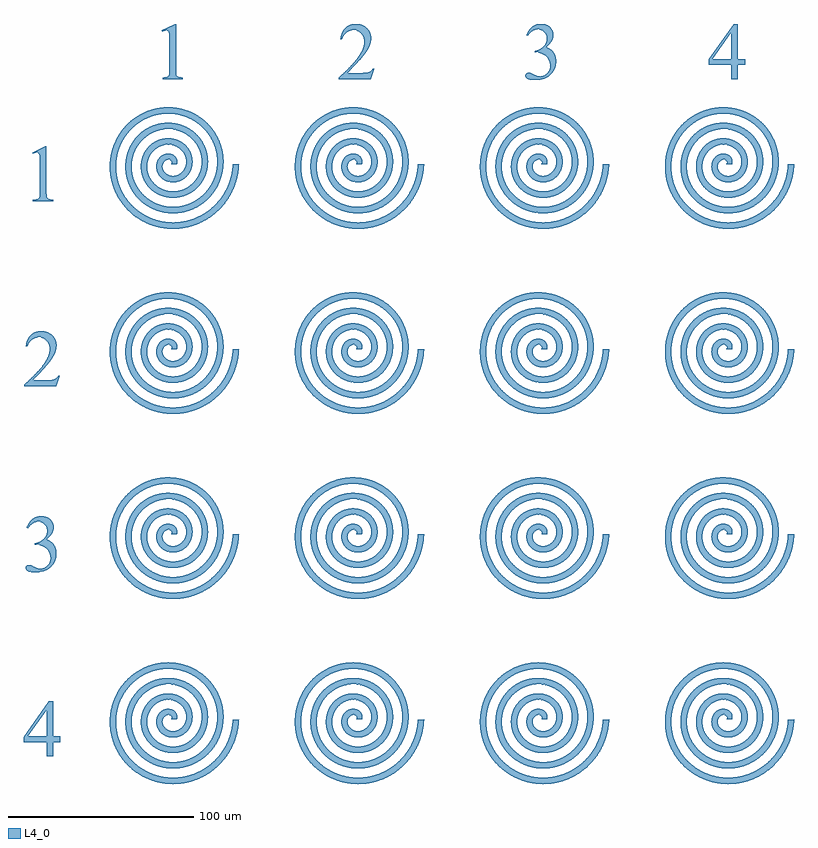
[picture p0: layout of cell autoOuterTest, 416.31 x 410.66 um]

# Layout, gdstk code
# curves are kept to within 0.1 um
import gdstk
lib = gdstk.Library(unit=1e-6, precision=1e-09)
def P(c, l, *ps):  # polygons
    for p in ps: c.add(gdstk.Polygon(p, *l))
L4_0 = (4, 0)

spiral = lib.new_cell('spiral')
P(spiral, L4_0, [(0,0),(0.503,0.218),(0.745,0.767),(3.108,3.217),(3.62,1.585),(3.404,0.009)],
  [(0.745,0.767),(0.55,1.55),(-0.062,2.138),(-0.177,5.54),(0.832,5.223),(1.76,4.703),(2.517,4.033),(3.108,3.217)],
  [(-0.062,2.138),(-1.173,2.433),(-2.366,2.167),(-4.888,4.453),(-3.807,5.093),(-2.605,5.506),(-1.336,5.655),(-0.177,5.54)],
  [(-7.667,-0.469),(-7.343,1.026),(-6.741,2.376),(-5.905,3.53),(-4.888,4.453),(-2.366,2.167),(-3.577,1.192),(-4.271,-0.25)],
  [(-5.702,-6.639),(-6.654,-5.284),(-7.333,-3.736),(-7.672,-2.133),(-7.667,-0.469),(-4.271,-0.25),(-4.396,-1.209),(-4.286,-2.277),(-3.495,-4.047)],
  [(0.886,-9.781),(-0.952,-9.519),(-2.745,-8.885),(-4.4,-7.873),(-5.702,-6.639),(-3.495,-4.047),(-2.753,-4.894),(-1.808,-5.598),(-0.69,-6.111),(0.561,-6.393)],
  [(1.283,-9.79),(0.886,-9.781),(0.561,-6.393),(1.896,-6.41),(3.325,-6.121),(4.582,-5.579),(5.806,-4.726),(8.465,-6.852),(6.945,-8.074),(5.169,-9.02),(3.29,-9.593)],
  [(8.465,-6.852),(5.806,-4.726),(6.914,-3.54),(7.737,-2.168),(8.28,-0.607),(8.498,0.997),(11.874,1.426),(11.655,-0.94),(11.023,-3.056),(9.958,-5.064)],
  [(8.498,0.997),(8.399,2.661),(7.904,4.492),(7.055,6.148),(5.856,7.64),(7.898,10.363),(9.448,8.619),(10.689,6.547),(11.495,4.321),(11.854,2.029),(11.874,1.426)],
  [(5.856,7.64),(4.339,8.891),(2.458,9.873),(0.563,10.413),(-1.556,10.581),(-2.09,13.943),(0.295,13.868),(2.725,13.356),(4.982,12.429),(7.102,11.051),(7.898,10.363)],
  [(-9.542,6.881),(-12.327,8.838),(-11.283,9.937),(-9.297,11.525),(-7.102,12.734),(-4.63,13.572),(-2.09,13.943),(-1.556,10.581),(-3.826,10.288),(-5.934,9.55),(-7.897,8.375)],
  [(-15.981,-2.875),(-15.983,0.192),(-15.365,3.308),(-14.156,6.187),(-12.327,8.838),(-9.542,6.881),(-10.963,4.959),(-12.03,2.624),(-12.579,0.186),(-12.638,-2.237)],
  [(-9.67,-14.354),(-12.028,-12.089),(-13.967,-9.311),(-15.291,-6.249),(-15.981,-2.875),(-12.638,-2.237),(-12.19,-4.801),(-11.218,-7.273),(-9.74,-9.544),(-7.8,-11.51)],
  [(1.403,-18.149),(-1.488,-17.928),(-4.443,-17.197),(-7.195,-15.99),(-9.67,-14.354),(-7.8,-11.51),(-5.461,-13.077),(-2.667,-14.204),(0.212,-14.718),(3.04,-14.662),(3.78,-17.984)],
  [(3.78,-17.984),(3.04,-14.662),(6.142,-13.963),(8.948,-12.683),(11.484,-10.836),(13.538,-8.608),(16.439,-10.389),(13.854,-13.263),(10.79,-15.532),(7.383,-17.12)],
  [(16.439,-10.389),(13.538,-8.608),(15.228,-5.843),(16.389,-2.584),(16.842,0.735),(16.647,3.962),(19.946,4.804),(20.193,2.771),(20.235,0.736),(20.074,-1.279),(19.714,-3.255),(18.425,-7.012)],
  [(16.647,3.962),(15.771,7.302),(14.222,10.448),(12.042,13.263),(9.304,15.621),(10.995,18.576),(13.52,16.569),(15.696,14.228),(17.479,11.611),(18.836,8.784),(19.492,6.816),(19.946,4.804)],
  [(9.304,15.621),(6.103,17.41),(2.559,18.541),(-1.192,18.947),(-5.002,18.59),(-5.946,21.861),(-2.589,22.305),(0.544,22.261),(3.83,21.732),(6.97,20.726),(9.141,19.702),(10.995,18.576)],
  [(-17.755,9.884),(-20.761,11.483),(-19.401,13.422),(-17.699,15.374),(-15.073,17.694),(-12.356,19.466),(-9.227,20.91),(-5.946,21.861),(-5.002,18.59),(-8.715,17.465),(-12.175,15.596),(-13.764,14.4),(-15.234,13.041),(-16.57,11.531)],
  [(-23.725,-7.203),(-24.194,-4.773),(-24.417,-2.321),(-24.393,0.127),(-24.125,2.548),(-23.619,4.916),(-22.883,7.21),(-21.926,9.405),(-20.761,11.483),(-17.755,9.884),(-18.776,8.115),(-19.62,6.241),(-20.275,4.278),(-20.734,2.247),(-20.989,0.167),(-21.034,-1.941),(-20.866,-4.057),(-20.485,-6.158)],
  [(-11.852,-22.988),(-14.015,-21.578),(-16.015,-19.967),(-17.835,-18.173),(-19.458,-16.216),(-20.868,-14.117),(-22.056,-11.9),(-23.01,-9.587),(-23.725,-7.203),(-20.485,-6.158),(-19.891,-8.224),(-19.089,-10.232),(-18.083,-12.161),(-16.881,-13.991),(-15.494,-15.701),(-13.933,-17.274),(-12.212,-18.69),(-10.347,-19.935)],
  [(1.434,-26.533),(-2.005,-26.322),(-5.365,-25.67),(-8.59,-24.594),(-11.852,-22.988),(-10.347,-19.935),(-8.354,-20.992),(-6.254,-21.85),(-4.065,-22.497),(-1.581,-22.954),(0.723,-23.13),(3.046,-23.075),(5.134,-22.826),(7.429,-22.326),(8.574,-25.532),(4.893,-26.295)],
  [(8.574,-25.532),(7.429,-22.326),(9.676,-21.595),(11.85,-20.637),(13.929,-19.459),(15.89,-18.072),(17.713,-16.486),(19.377,-14.717),(20.863,-12.778),(22.155,-10.69),(25.254,-12.1),(23.805,-14.491),(22.133,-16.715),(20.256,-18.75),(18.194,-20.578),(15.971,-22.183),(13.609,-23.551),(11.135,-24.67)],
  [(25.254,-12.1),(22.155,-10.69),(23.237,-8.47),(24.096,-6.141),(24.721,-3.725),(25.103,-1.245),(25.235,1.274),(25.114,3.807),(24.738,6.328),(24.108,8.812),(27.278,10.056),(28.016,7.249),(28.467,4.395),(28.631,1.524),(28.506,-1.335),(28.098,-4.155),(27.413,-6.907),(26.461,-9.564)],
  [(24.108,8.812),(23.229,11.233),(22.105,13.566),(20.747,15.786),(19.165,17.87),(17.373,19.794),(15.388,21.538),(13.227,23.083),(10.911,24.41),(12.225,27.551),(15.603,25.586),(18.902,23.013),(21.599,20.25),(24.06,16.93),(25.898,13.588),(27.278,10.056)],
  [(10.911,24.41),(8.462,25.505),(5.903,26.352),(3.258,26.943),(0.555,27.267),(-2.181,27.32),(-4.921,27.097),(-7.638,26.599),(-10.305,25.828),(-11.646,28.957),(-7.751,30.054),(-3.46,30.656),(0.54,30.672),(4.786,30.111),(8.599,29.07),(12.225,27.551)],
  [(-26.696,11.009),(-29.876,12.225),(-27.888,15.909),(-25.248,19.53),(-22.38,22.515),(-19.167,25.088),(-15.666,27.211),(-11.646,28.957),(-10.305,25.828),(-12.894,24.788),(-15.377,23.489),(-17.73,21.941),(-19.925,20.156),(-21.941,18.151),(-23.755,15.945),(-25.346,13.557)],
  [(-30.565,-13.342),(-31.617,-10.183),(-32.345,-6.948),(-32.744,-3.669),(-32.813,-0.38),(-32.554,2.886),(-31.972,6.096),(-31.076,9.219),(-29.876,12.225),(-26.696,11.009),(-27.79,8.328),(-28.614,5.537),(-29.157,2.665),(-29.411,-0.26),(-29.371,-3.21),(-29.034,-6.154),(-28.402,-9.062),(-27.478,-11.905)],
  [(-12.1,-32.223),(-15.197,-30.734),(-18.118,-28.95),(-20.836,-26.891),(-23.325,-24.58),(-25.561,-22.041),(-27.524,-19.302),(-29.197,-16.393),(-30.565,-13.342),(-27.478,-11.905),(-26.269,-14.654),(-24.785,-17.28),(-23.037,-19.755),(-21.042,-22.053),(-18.818,-24.149),(-16.384,-26.02),(-13.764,-27.646),(-10.983,-29.007)],
  [(1.426,-34.925),(-2.06,-34.76),(-5.499,-34.249),(-8.856,-33.399),(-12.1,-32.223),(-10.983,-29.007),(-8.067,-30.087),(-5.044,-30.874),(-1.945,-31.357),(1.2,-31.528),(4.36,-31.383),(7.503,-30.921),(10.597,-30.144),(13.61,-29.056),(15.142,-32.097),(11.817,-33.322),(8.4,-34.206),(4.924,-34.741)],
  [(15.142,-32.097),(13.61,-29.056),(16.511,-27.667),(19.271,-25.988),(21.859,-24.033),(24.248,-21.82),(26.413,-19.369),(28.33,-16.704),(29.978,-13.848),(31.337,-10.83),(34.586,-11.847),(33.109,-15.185),(31.313,-18.347),(29.216,-21.302),(26.844,-24.023),(24.222,-26.485),(21.377,-28.663),(18.339,-30.54)],
  [(34.586,-11.847),(31.337,-10.83),(32.3,-7.998),(32.941,-5.409),(33.375,-2.768),(33.596,-0.092),(37,0),(36.775,-2.948),(36.243,-6.221),(35.526,-9.071)])

autooutertest = lib.new_cell('autoOuterTest')
P(autooutertest, L4_0, [(-64.328,-100),(-64.328,-99.203),(-61.745,-98.882),(-61.01,-98.314),(-60.726,-97.615),(-60.595,-95.179),(-60.606,-77.69),(-60.784,-75.12),(-61.303,-74.089),(-61.852,-73.782),(-62.521,-73.729),(-64.516,-74.391),(-64.844,-73.719),(-57.75,-70.266),(-57.047,-70.266),(-56.951,-97.357),(-56.752,-98.13),(-56.289,-98.658),(-55.32,-99.038),(-53.375,-99.203),(-53.375,-100)],
  [(-69.047,-200),(-69.047,-199.203),(-62.59,-192.916),(-60.202,-190.249),(-58.375,-187.898),(-57.095,-185.886),(-56.154,-183.956),(-55.583,-182.23),(-55.308,-180.577),(-55.415,-178.412),(-56.011,-176.681),(-57.191,-175.119),(-58.715,-174.052),(-60.04,-173.632),(-61.313,-173.552),(-62.715,-173.754),(-64.016,-174.254),(-65.109,-174.967),(-66.055,-175.914),(-66.826,-177.092),(-67.422,-178.5),(-68.219,-178.5),(-67.871,-176.734),(-67.297,-175.076),(-66.514,-173.651),(-65.522,-172.457),(-64.274,-171.461),(-62.87,-170.764),(-61.309,-170.367),(-59.576,-170.271),(-57.904,-170.466),(-56.287,-170.985),(-54.998,-171.709),(-53.838,-172.682),(-52.836,-173.883),(-52.131,-175.186),(-51.74,-176.501),(-51.609,-177.906),(-51.731,-179.432),(-52.097,-180.957),(-53.432,-183.882),(-55.763,-187.313),(-59.66,-191.731),(-64.484,-196.75),(-56.051,-196.744),(-53.739,-196.599),(-52.73,-196.318),(-51.93,-195.883),(-51.225,-195.248),(-50.625,-194.391),(-49.828,-194.391),(-51.859,-200)],
  [(-63.141,-300.516),(-65.745,-300.308),(-66.691,-300.031),(-67.346,-299.643),(-67.985,-298.975),(-68.215,-298.322),(-68.092,-297.631),(-67.581,-297.005),(-66.839,-296.67),(-65.885,-296.695),(-61.869,-298.435),(-60.49,-298.637),(-59.207,-298.535),(-57.866,-298.043),(-56.658,-297.151),(-55.596,-295.825),(-55.02,-294.454),(-54.829,-292.831),(-55.065,-291.051),(-55.72,-289.333),(-56.646,-287.962),(-58.067,-286.882),(-59.848,-286.042),(-61.483,-285.629),(-63.312,-285.547),(-63.312,-284.891),(-61.831,-284.557),(-60.341,-283.913),(-58.936,-282.998),(-57.875,-281.924),(-57.248,-280.884),(-56.804,-279.56),(-56.657,-278.231),(-56.766,-276.952),(-57.31,-275.491),(-58.304,-274.31),(-59.592,-273.529),(-61.229,-273.193),(-62.699,-273.313),(-64.018,-273.775),(-65.638,-274.949),(-67.062,-276.75),(-67.766,-276.406),(-66.921,-274.701),(-66.053,-273.389),(-65.082,-272.288),(-64.001,-271.406),(-62.775,-270.772),(-61.4,-270.392),(-60.052,-270.267),(-58.422,-270.375),(-56.702,-270.872),(-55.339,-271.714),(-54.106,-273.08),(-53.328,-274.639),(-53.109,-276.571),(-53.656,-278.591),(-54.984,-280.651),(-57.094,-282.75),(-55.686,-283.411),(-54.486,-284.214),(-53.493,-285.162),(-52.635,-286.378),(-52.091,-287.594),(-51.742,-289.075),(-51.657,-290.477),(-51.788,-292.076),(-52.258,-293.887),(-53.01,-295.46),(-54.161,-297.018),(-55.565,-298.313),(-57.068,-299.243),(-58.921,-299.965),(-60.839,-300.367)],
  [(-56.984,-400),(-56.984,-392.312),(-69.312,-392.312),(-69.312,-389.562),(-69.094,-389.25),(-56.984,-389.25),(-56.984,-374.797),(-67.203,-389.25),(-69.094,-389.25),(-55.797,-370.266),(-53.437,-370.266),(-53.437,-389.25),(-49.531,-389.25),(-49.531,-392.312),(-53.437,-392.312),(-53.437,-400)],
  [(5.672,-34),(5.672,-33.203),(8.255,-32.882),(8.99,-32.314),(9.274,-31.615),(9.405,-29.179),(9.394,-11.69),(9.216,-9.12),(8.697,-8.089),(8.148,-7.782),(7.479,-7.729),(5.484,-8.391),(5.156,-7.719),(12.25,-4.266),(12.953,-4.266),(13.049,-31.357),(13.248,-32.13),(13.711,-32.658),(14.68,-33.038),(16.625,-33.203),(16.625,-34)],
  [(100.953,-34),(100.953,-33.203),(107.41,-26.916),(109.798,-24.249),(111.625,-21.898),(112.905,-19.886),(113.846,-17.956),(114.417,-16.23),(114.692,-14.577),(114.585,-12.412),(113.989,-10.681),(112.809,-9.119),(111.285,-8.052),(109.96,-7.632),(108.687,-7.552),(107.285,-7.754),(105.984,-8.254),(104.891,-8.967),(103.945,-9.914),(103.174,-11.092),(102.578,-12.5),(101.781,-12.5),(102.129,-10.734),(102.703,-9.076),(103.486,-7.651),(104.478,-6.457),(105.726,-5.461),(107.13,-4.764),(108.691,-4.367),(110.424,-4.271),(112.096,-4.466),(113.713,-4.985),(115.002,-5.709),(116.162,-6.682),(117.164,-7.883),(117.869,-9.186),(118.26,-10.501),(118.391,-11.906),(118.269,-13.432),(117.903,-14.957),(116.568,-17.882),(114.237,-21.313),(110.34,-25.731),(105.516,-30.75),(113.949,-30.744),(116.261,-30.599),(117.27,-30.318),(118.07,-29.883),(118.775,-29.248),(119.375,-28.391),(120.172,-28.391),(118.141,-34)],
  [(206.859,-34.516),(204.255,-34.308),(203.309,-34.031),(202.654,-33.643),(202.015,-32.975),(201.785,-32.322),(201.908,-31.631),(202.419,-31.005),(203.161,-30.67),(204.115,-30.695),(208.131,-32.435),(209.51,-32.637),(210.793,-32.535),(212.134,-32.043),(213.342,-31.151),(214.404,-29.825),(214.98,-28.454),(215.171,-26.831),(214.935,-25.051),(214.28,-23.333),(213.354,-21.962),(211.933,-20.882),(210.152,-20.042),(208.517,-19.629),(206.688,-19.547),(206.688,-18.891),(208.169,-18.557),(209.659,-17.913),(211.064,-16.998),(212.125,-15.924),(212.752,-14.884),(213.196,-13.56),(213.343,-12.231),(213.234,-10.952),(212.69,-9.491),(211.696,-8.31),(210.408,-7.529),(208.771,-7.193),(207.301,-7.313),(205.982,-7.775),(204.362,-8.949),(202.938,-10.75),(202.234,-10.406),(203.079,-8.701),(203.947,-7.389),(204.918,-6.288),(205.999,-5.406),(207.225,-4.772),(208.6,-4.392),(209.948,-4.267),(211.578,-4.375),(213.298,-4.872),(214.661,-5.714),(215.894,-7.08),(216.672,-8.639),(216.891,-10.571),(216.344,-12.591),(215.016,-14.651),(212.906,-16.75),(214.314,-17.411),(215.514,-18.214),(216.507,-19.162),(217.365,-20.378),(217.909,-21.594),(218.258,-23.075),(218.343,-24.477),(218.212,-26.076),(217.742,-27.887),(216.99,-29.46),(215.839,-31.018),(214.435,-32.313),(212.932,-33.243),(211.079,-33.965),(209.161,-34.367)],
  [(313.016,-34),(313.016,-26.312),(300.688,-26.312),(300.688,-23.562),(300.906,-23.25),(313.016,-23.25),(313.016,-8.797),(302.797,-23.25),(300.906,-23.25),(314.203,-4.266),(316.563,-4.266),(316.563,-23.25),(320.469,-23.25),(320.469,-26.312),(316.563,-26.312),(316.563,-34)])
r = gdstk.Reference(spiral, (10,-380)); r.repetition = gdstk.Repetition(4, 4, v1=(100,0), v2=(0,100)); autooutertest.add(r)

lib.write_gds('autoOuterTest.gds')
